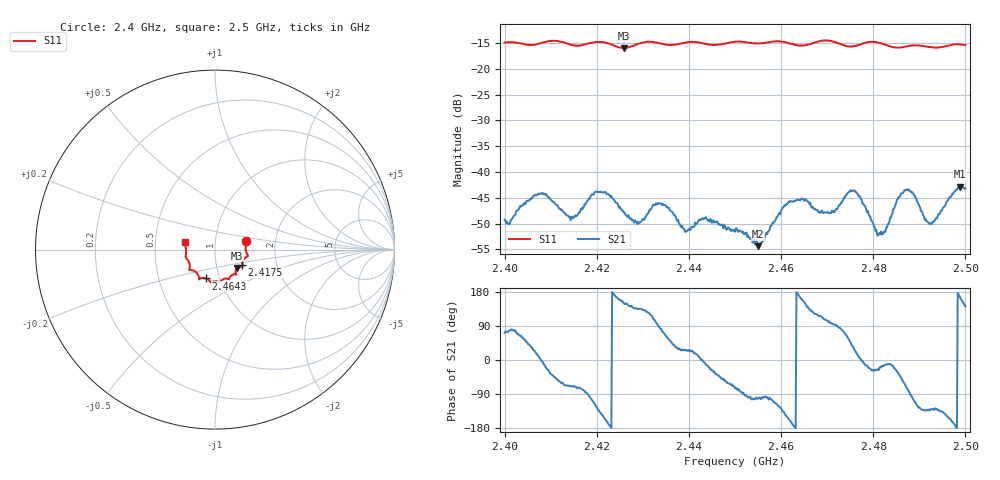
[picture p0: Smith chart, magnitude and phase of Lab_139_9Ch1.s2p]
# Hz S RI R 50
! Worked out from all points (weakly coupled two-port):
!   601 points, 2.4 GHz to 2.5 GHz, reference 50 ohm
!   highest |S21| = -42.83 dB at 2.4988 GHz (marker M1); lowest = -54.4 dB at 2.455 GHz (marker M2)
!   lowest |S11| = -15.9 dB at 2.4258 GHz (marker M3), VSWR 1.38, Z = 62.3 - j13.2 ohm
!   |S11| at or under -10 dB: start of sweep to end of sweep
!   S12 and S22 are empty: the file has one direction only
!   S11 on the Smith chart (normalised r, x): 2.4 GHz: 1.41, +0.14; 2.4175 GHz: 1.33, -0.23; 2.4643 GHz: 0.86, -0.29; 2.5 GHz: 0.72, +0.06
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2.4e9  0.1729 0.0486  0.00109 0.00327  0 0  0 0
2.407667e9  0.1758 -0.0171  0.0061 0.000543  0 0  0 0
2.414e9  0.1668 -0.0466  0.00137 -0.00339  0 0  0 0
2.416667e9  0.1523 -0.0739  0.00107 -0.00431  0 0  0 0
2.4175e9  0.1513 -0.0835  0.000404 -0.00482  0 0  0 0
2.421333e9  0.1539 -0.0968  -0.00529 -0.00346  0 0  0 0
2.425833e9  0.1219 -0.1029  -0.00358 0.00194  0 0  0 0
2.429167e9  0.1154 -0.1327  -0.00225 0.00227  0 0  0 0
2.433333e9  0.1136 -0.1373  -2.53e-06 0.005  0 0  0 0
2.439167e9  0.0796 -0.1606  0.00238 0.00112  0 0  0 0
2.45e9  0.0286 -0.1814  0.00069 -0.00254  0 0  0 0
2.455e9  0.00222 -0.1766  -0.000381 -0.00187  0 0  0 0
2.464333e9  -0.0497 -0.1608  -0.00524 0.00172  0 0  0 0
2.466667e9  -0.0763 -0.1587  -0.00284 0.00351  0 0  0 0
2.471167e9  -0.0883 -0.1624  -0.000395 0.00411  0 0  0 0
2.475667e9  -0.1128 -0.1209  0.00549 0.0037  0 0  0 0
2.481e9  -0.1435 -0.1092  0.0022 -0.000981  0 0  0 0
2.483333e9  -0.1405 -0.09  0.00308 -0.000618  0 0  0 0
2.487e9  -0.1551 -0.0546  0.00253 -0.00616  0 0  0 0
2.4925e9  -0.1609 -0.0201  -0.00203 -0.00245  0 0  0 0
2.498833e9  -0.1692 0.037  -0.00699 0.00182  0 0  0 0
2.5e9  -0.1644 0.0431  -0.00538 0.00434  0 0  0 0
